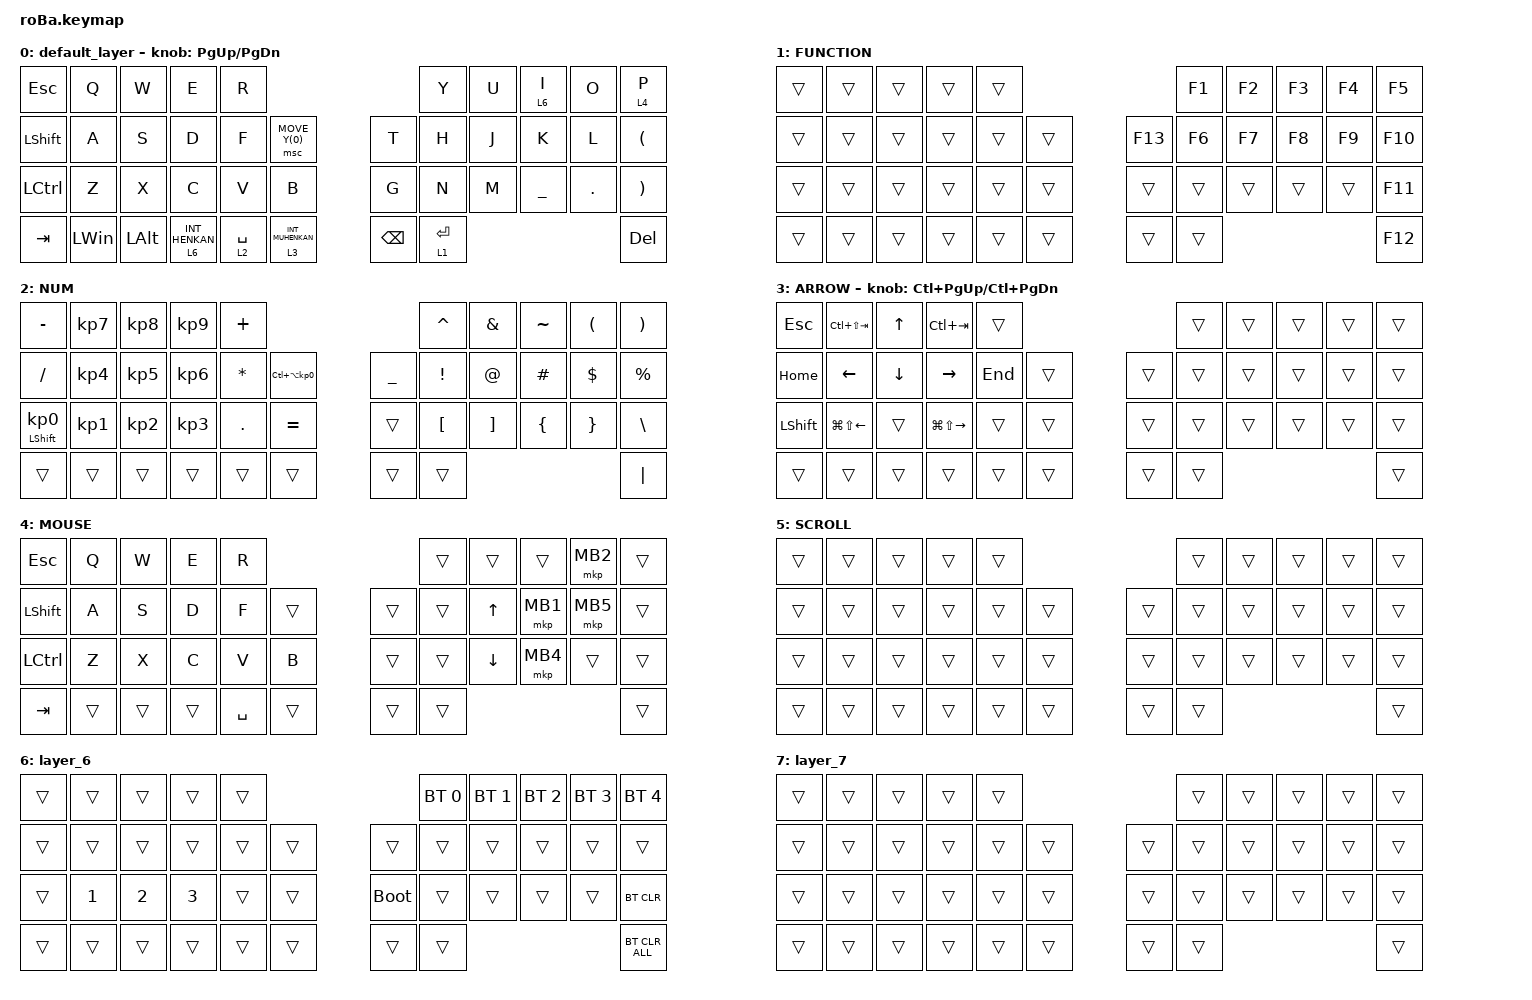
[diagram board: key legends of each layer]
#include <behaviors.dtsi>
#include <dt-bindings/zmk/bt.h>
#include <dt-bindings/zmk/keys.h>
#include <dt-bindings/zmk/pointing.h>

&mt {
    flavor = "balanced";
    quick-tap-ms = <0>;
};

&trackball {
    automouse-layer = <4>;
    scroll-layers = <5>;

    // arrows {
    //     layers = <3>;
    //     bindings =
    //         <&kp RIGHT_ARROW>,
    //         <&kp LEFT_ARROW>,
    //         <&kp UP_ARROW>,
    //         <&kp DOWN_ARROW>;
    //     tick = <10>;
    //     wait-ms = <5>;
    //     tap-ms = <5>;
    // };
};

/ {
    combos {
        compatible = "zmk,combos";

        tab {
            bindings = <&kp TAB>;
            key-positions = <11 12>;
        };

        shift_tab {
            bindings = <&kp LS(TAB)>;
            key-positions = <12 13>;
        };

        muhennkann {
            bindings = <&to_layer_0 INT_MUHENKAN>;
            key-positions = <11 10>;
        };

        double_quotation {
            bindings = <&kp DOUBLE_QUOTES>;
            key-positions = <20 21>;
        };

        eq {
            bindings = <&kp EQUAL>;
            key-positions = <24 25>;
        };

        layer4 {
            bindings = <&to 4>;
            key-positions = <8 9>;
        };
    };

    macros {
        to_layer_0: to_layer_0 {
            compatible = "zmk,behavior-macro-one-param";
            #binding-cells = <1>;
            bindings = <&to 0 &macro_param_1to1 &kp MACRO_PLACEHOLDER>;
            label = "TO_LAYER_0";
        };
    };

    behaviors {
        lt_to_layer_0: lt_to_layer_0 {
            compatible = "zmk,behavior-hold-tap";
            label = "LAYER_TAP_TO_0";
            bindings = <&mo>, <&to_layer_0>;

            #binding-cells = <2>;
            tapping-term-ms = <200>;
        };
    };

    keymap {
        compatible = "zmk,keymap";

        default_layer {
            bindings = <
&kp ESC           &kp Q         &kp W         &kp E                        &kp R                                                          &kp Y        &kp U  &lt 6 I    &kp O    &lt 4 P
&kp LSHFT         &kp A         &kp S         &kp D                        &kp F        &msc MOVE_Y(0)                     &kp T          &kp H        &kp J  &kp K      &kp L    &kp LEFT_PARENTHESIS
&kp LEFT_CONTROL  &kp Z         &kp X         &kp C                        &kp V        &kp B                              &kp G          &kp N        &kp M  &kp UNDER  &kp DOT  &kp RPAR
&kp TAB           &kp LEFT_WIN  &kp LEFT_ALT  &lt_to_layer_0 6 INT_HENKAN  &lt 2 SPACE  &lt_to_layer_0 3 INT_MUHENKAN      &kp BACKSPACE  &lt 1 ENTER                             &kp DEL
            >;

            sensor-bindings = <&inc_dec_kp PG_UP PAGE_DOWN>;
        };

        FUNCTION {
            bindings = <
&trans  &trans  &trans  &trans  &trans                       &kp F1  &kp F2  &kp F3  &kp F4  &kp F5
&trans  &trans  &trans  &trans  &trans  &trans      &kp F13  &kp F6  &kp F7  &kp F8  &kp F9  &kp F10
&trans  &trans  &trans  &trans  &trans  &trans      &trans   &trans  &trans  &trans  &trans  &kp F11
&trans  &trans  &trans  &trans  &trans  &trans      &trans   &trans                          &kp F12
            >;
        };

        NUM {
            bindings = <
&kp MINUS                   &kp KP_NUMBER_7  &kp KP_NUMBER_8  &kp KP_NUMBER_9  &kp PLUS                                                   &kp CARET         &kp AMPERSAND      &kp TILDE       &kp LEFT_PARENTHESIS  &kp RIGHT_PARENTHESIS
&kp SLASH                   &kp KP_NUMBER_4  &kp KP_NUMBER_5  &kp KP_NUMBER_6  &kp ASTERISK  &kp LC(LA(KP_NUMBER_0))      &kp UNDERSCORE  &kp EXCLAMATION   &kp AT_SIGN        &kp HASH        &kp DOLLAR            &kp PERCENT
&mt LEFT_SHIFT KP_NUMBER_0  &kp KP_NUMBER_1  &kp KP_NUMBER_2  &kp KP_NUMBER_3  &kp PERIOD    &kp EQUAL                    &trans          &kp LEFT_BRACKET  &kp RIGHT_BRACKET  &kp LEFT_BRACE  &kp RIGHT_BRACE       &kp BACKSLASH
&trans                      &trans           &trans           &trans           &trans        &trans                       &trans          &trans                                                                     &kp PIPE
            >;
        };

        ARROW {
            bindings = <
&kp ESCAPE      &kp LC(LS(TAB))         &kp UP_ARROW    &kp LC(TAB)              &trans                       &trans  &trans  &trans  &trans  &trans
&kp HOME        &kp LEFT_ARROW          &kp DOWN_ARROW  &kp RIGHT_ARROW          &kp END  &trans      &trans  &trans  &trans  &trans  &trans  &trans
&kp LEFT_SHIFT  &kp LG(LS(LEFT_ARROW))  &trans          &kp LG(LS(RIGHT_ARROW))  &trans   &trans      &trans  &trans  &trans  &trans  &trans  &trans
&trans          &trans                  &trans          &trans                   &trans   &trans      &trans  &trans                          &trans
            >;

            sensor-bindings = <&inc_dec_kp LC(PAGE_UP) LC(PAGE_DOWN)>;
        };

        MOUSE {
            bindings = <
&kp ESC           &kp Q   &kp W   &kp E   &kp R                          &trans  &trans          &trans    &mkp MB2  &trans
&kp LSHIFT        &kp A   &kp S   &kp D   &kp F      &trans      &trans  &trans  &kp UP_ARROW    &mkp MB1  &mkp MB5  &trans
&kp LEFT_CONTROL  &kp Z   &kp X   &kp C   &kp V      &kp B       &trans  &trans  &kp DOWN_ARROW  &mkp MB4  &trans    &trans
&kp TAB           &trans  &trans  &trans  &kp SPACE  &trans      &trans  &trans                                      &trans
            >;
        };

        SCROLL {
            bindings = <
&trans  &trans  &trans  &trans  &trans                      &trans  &trans  &trans  &trans  &trans
&trans  &trans  &trans  &trans  &trans  &trans      &trans  &trans  &trans  &trans  &trans  &trans
&trans  &trans  &trans  &trans  &trans  &trans      &trans  &trans  &trans  &trans  &trans  &trans
&trans  &trans  &trans  &trans  &trans  &trans      &trans  &trans                          &trans
            >;
        };

        layer_6 {
            bindings = <
&trans  &trans        &trans        &trans        &trans                           &bt BT_SEL 0  &bt BT_SEL 1  &bt BT_SEL 2  &bt BT_SEL 3  &bt BT_SEL 4
&trans  &trans        &trans        &trans        &trans  &trans      &trans       &trans        &trans        &trans        &trans        &trans
&trans  &kp NUMBER_1  &kp NUMBER_2  &kp NUMBER_3  &trans  &trans      &bootloader  &trans        &trans        &trans        &trans        &bt BT_CLR
&trans  &trans        &trans        &trans        &trans  &trans      &trans       &trans                                                  &bt BT_CLR_ALL
            >;
        };

        layer_7 {
            bindings = <
&trans  &trans  &trans  &trans  &trans                      &trans  &trans  &trans  &trans  &trans
&trans  &trans  &trans  &trans  &trans  &trans      &trans  &trans  &trans  &trans  &trans  &trans
&trans  &trans  &trans  &trans  &trans  &trans      &trans  &trans  &trans  &trans  &trans  &trans
&trans  &trans  &trans  &trans  &trans  &trans      &trans  &trans                          &trans
            >;
        };
    };
};
